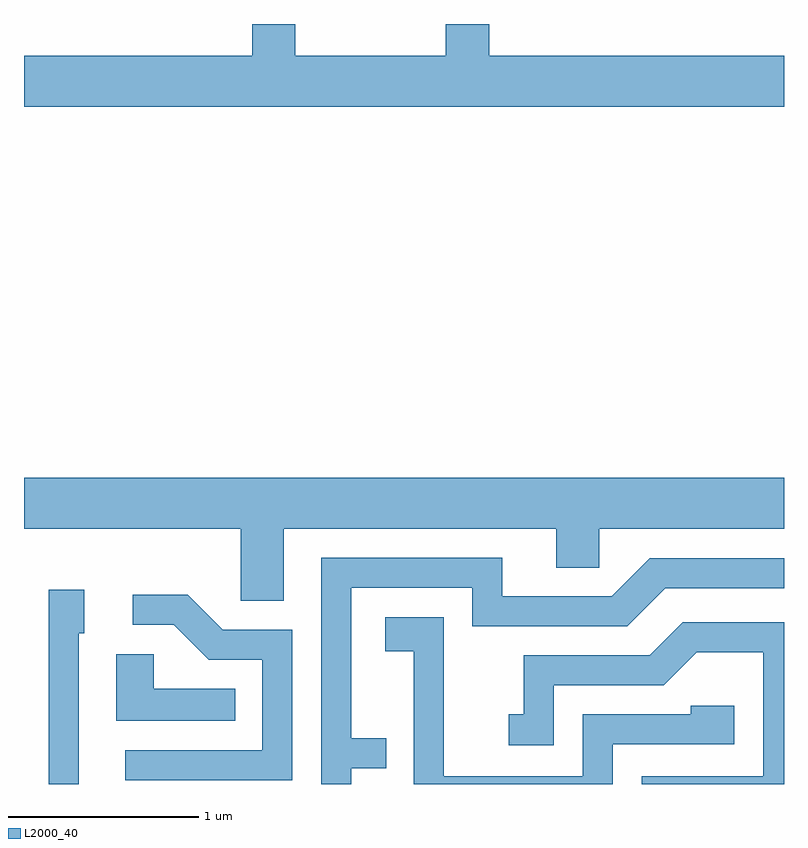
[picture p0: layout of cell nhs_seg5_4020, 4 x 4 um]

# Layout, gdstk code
import gdstk
lib = gdstk.Library(unit=1e-6, precision=1e-09)
def P(c, l, *ps):  # polygons
    for p in ps: c.add(gdstk.Polygon(p, *l))
L2000_40 = (2000, 40)

nhs_seg5_4020 = lib.new_cell('nhs_seg5_4020')
P(nhs_seg5_4020, L2000_40, [(307.611,1505.904),(306.059,1505.904),(306.059,1506.072),(305.831,1506.072),(305.831,1505.904),(305.039,1505.904),(305.039,1506.072),(304.811,1506.072),(304.811,1505.904),(303.611,1505.904),(303.611,1505.636),(307.611,1505.636)],
  [(304.979,1503.416),(306.411,1503.416),(306.411,1503.211),(306.639,1503.211),(306.639,1503.416),(307.611,1503.416),(307.611,1503.684),(303.611,1503.684),(303.611,1503.416),(304.751,1503.416),(304.751,1503.036),(304.979,1503.036)],
  [(305.334,1502.156),(305.518,1502.156),(305.518,1502.314),(305.334,1502.314),(305.334,1503.106),(305.971,1503.106),(305.971,1502.901),(306.787,1502.901),(306.987,1503.101),(307.611,1503.101),(307.611,1503.259),(306.904,1503.259),(306.704,1503.059),(306.129,1503.059),(306.129,1503.264),(305.176,1503.264),(305.176,1502.072),(305.334,1502.072)],
  [(303.899,1502.866),(303.929,1502.866),(303.929,1503.094),(303.741,1503.094),(303.741,1502.072),(303.899,1502.072)],
  [(305.024,1502.884),(304.657,1502.884),(304.472,1503.069),(304.183,1503.069),(304.183,1502.911),(304.399,1502.911),(304.584,1502.726),(304.866,1502.726),(304.866,1502.249),(304.143,1502.249),(304.143,1502.091),(305.024,1502.091)],
  [(306.709,1502.281),(307.349,1502.281),(307.349,1502.484),(307.121,1502.484),(307.121,1502.439),(306.551,1502.439),(306.551,1502.114),(305.819,1502.114),(305.819,1502.949),(305.511,1502.949),(305.511,1502.771),(305.661,1502.771),(305.661,1502.072),(306.709,1502.072)],
  [(307.611,1502.924),(307.079,1502.924),(306.904,1502.749),(306.241,1502.749),(306.241,1502.439),(306.163,1502.439),(306.163,1502.276),(306.399,1502.276),(306.399,1502.591),(306.977,1502.591),(307.152,1502.766),(307.501,1502.766),(307.501,1502.114),(306.861,1502.114),(306.861,1502.072),(307.611,1502.072)],
  [(304.723,1502.574),(304.294,1502.574),(304.294,1502.754),(304.096,1502.754),(304.096,1502.406),(304.723,1502.406)])

lib.write_gds('nhs_seg5_4020.gds')
